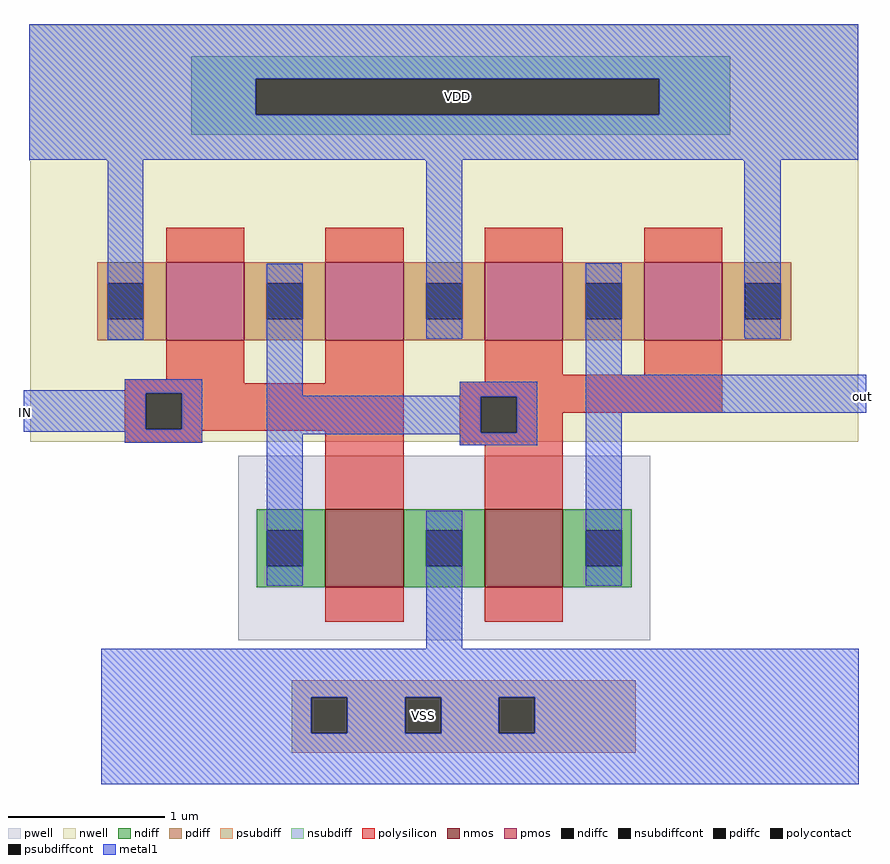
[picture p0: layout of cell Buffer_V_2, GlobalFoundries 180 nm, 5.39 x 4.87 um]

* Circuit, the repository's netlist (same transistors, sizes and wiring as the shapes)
* NGSPICE file created from Buffer_V_2.ext - technology: gf180mcuD

.subckt nmos_3p3_MGEA4B a_n138_n50# a_50_n50# a_n50_n94# VSUBS
X0 a_50_n50# a_n50_n94# a_n138_n50# VSUBS nfet_03v3 ad=0.22p pd=1.88u as=0.22p ps=1.88u w=0.5u l=0.5u
.ends

.subckt pmos_3p3_KG2TLV a_n52_n50# w_n326_n180# a_52_n94# a_152_n50# a_n240_n50# a_n152_n94#
X0 a_152_n50# a_52_n94# a_n52_n50# w_n326_n180# pfet_03v3 ad=0.22p pd=1.88u as=0.13p ps=1.02u w=0.5u l=0.5u
X1 a_n52_n50# a_n152_n94# a_n240_n50# w_n326_n180# pfet_03v3 ad=0.13p pd=1.02u as=0.22p ps=1.88u w=0.5u l=0.5u
.ends

.subckt Buffer_V_2 IN out VDD VSS
Xnmos_3p3_MGEA4B_0 a_550_n4# VSS IN VSS nmos_3p3_MGEA4B
Xnmos_3p3_MGEA4B_1 VSS out a_550_n4# VSS nmos_3p3_MGEA4B
Xpmos_3p3_KG2TLV_0 a_550_n4# VDD IN VDD VDD IN pmos_3p3_KG2TLV
Xpmos_3p3_KG2TLV_1 out VDD a_550_n4# VDD VDD a_550_n4# pmos_3p3_KG2TLV
.ends

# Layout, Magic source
magic
tech gf180mcuD
magscale 1 10
<< nwell >>
rect -1 360 1060 534
rect 174 75 274 88
rect 174 14 379 75
rect 676 37 886 86
<< psubdiff >>
rect 335 -327 775 -305
rect 335 -373 360 -327
rect 406 -373 480 -327
rect 526 -373 600 -327
rect 646 -373 775 -327
rect 335 -398 775 -373
<< nsubdiff >>
rect 206 465 896 494
rect 206 419 289 465
rect 805 419 896 465
rect 206 393 896 419
<< psubdiffcont >>
rect 360 -373 406 -327
rect 480 -373 526 -327
rect 600 -373 646 -327
<< nsubdiffcont >>
rect 289 419 805 465
<< polysilicon >>
rect 174 80 274 88
rect 121 75 274 80
rect 378 75 478 88
rect 786 86 886 87
rect 582 77 886 86
rect 121 62 478 75
rect 121 16 148 62
rect 194 16 478 62
rect 121 14 478 16
rect 121 -1 220 14
rect 378 -42 478 14
rect 550 58 886 77
rect 550 12 577 58
rect 623 37 886 58
rect 623 12 682 37
rect 550 -4 682 12
rect 582 -42 682 -4
<< polycontact >>
rect 148 16 194 62
rect 577 12 623 58
<< metal1 >>
rect -1 465 1060 535
rect -1 419 289 465
rect 805 419 1060 465
rect -1 361 1060 419
rect 98 360 145 361
rect 506 360 553 361
rect 913 360 961 361
rect 99 131 145 360
rect 121 66 220 80
rect -8 62 220 66
rect -8 16 148 62
rect 194 16 220 62
rect -8 13 220 16
rect 121 -1 220 13
rect 303 59 349 228
rect 507 132 553 360
rect 711 86 757 229
rect 914 134 961 360
rect 550 59 649 77
rect 303 58 649 59
rect 303 12 577 58
rect 623 12 649 58
rect 303 10 649 12
rect 303 -183 349 10
rect 550 -4 649 10
rect 711 37 1070 86
rect 507 -265 553 -88
rect 711 -184 757 37
rect 91 -327 1061 -265
rect 91 -373 360 -327
rect 406 -373 480 -327
rect 526 -373 600 -327
rect 646 -373 1061 -327
rect 91 -438 1061 -373
use nmos_3p3_MGEA4B  nmos_3p3_MGEA4B_0
transform 1 0 428 0 1 -136
box -162 -118 162 118
use nmos_3p3_MGEA4B  nmos_3p3_MGEA4B_1
transform 1 0 632 0 1 -136
box -162 -118 162 118
use pmos_3p3_KG2TLV  pmos_3p3_KG2TLV_0
transform 1 0 326 0 1 180
box -326 -180 326 180
use pmos_3p3_KG2TLV  pmos_3p3_KG2TLV_1
transform 1 0 734 0 1 180
box -326 -180 326 180
<< labels >>
flabel metal1 s -6 38 -6 38 0 FreeSans 500 0 0 0 IN
port 1 nsew
flabel metal1 s 1066 58 1066 58 0 FreeSans 500 0 0 0 out
port 2 nsew
rlabel metal1 289 419 805 465 0 VDD
port 3 nsew
rlabel metal1 480 -373 526 -327 0 VSS
port 4 nsew
<< end >>

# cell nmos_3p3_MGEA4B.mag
magic
tech gf180mcuD
magscale 1 10
<< pwell >>
rect -162 -118 162 118
<< nmos >>
rect -50 -50 50 50
<< ndiff >>
rect -138 23 -50 50
rect -138 -23 -125 23
rect -79 -23 -50 23
rect -138 -50 -50 -23
rect 50 23 138 50
rect 50 -23 79 23
rect 125 -23 138 23
rect 50 -50 138 -23
<< ndiffc >>
rect -125 -23 -79 23
rect 79 -23 125 23
<< polysilicon >>
rect -50 50 50 94
rect -50 -94 50 -50
<< metal1 >>
rect -125 23 -79 48
rect -125 -48 -79 -23
rect 79 23 125 48
rect 79 -48 125 -23
<< end >>

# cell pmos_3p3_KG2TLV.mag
magic
tech gf180mcuD
magscale 1 10
<< nwell >>
rect -326 -180 326 180
<< pmos >>
rect -152 -50 -52 50
rect 52 -50 152 50
<< pdiff >>
rect -240 23 -152 50
rect -240 -23 -227 23
rect -181 -23 -152 23
rect -240 -50 -152 -23
rect -52 23 52 50
rect -52 -23 -23 23
rect 23 -23 52 23
rect -52 -50 52 -23
rect 152 23 240 50
rect 152 -23 181 23
rect 227 -23 240 23
rect 152 -50 240 -23
<< pdiffc >>
rect -227 -23 -181 23
rect -23 -23 23 23
rect 181 -23 227 23
<< polysilicon >>
rect -152 50 -52 94
rect 52 50 152 94
rect -152 -94 -52 -50
rect 52 -94 152 -50
<< metal1 >>
rect -227 23 -181 48
rect -227 -48 -181 -23
rect -23 23 23 48
rect -23 -48 23 -23
rect 181 23 227 48
rect 181 -48 227 -23
<< end >>
